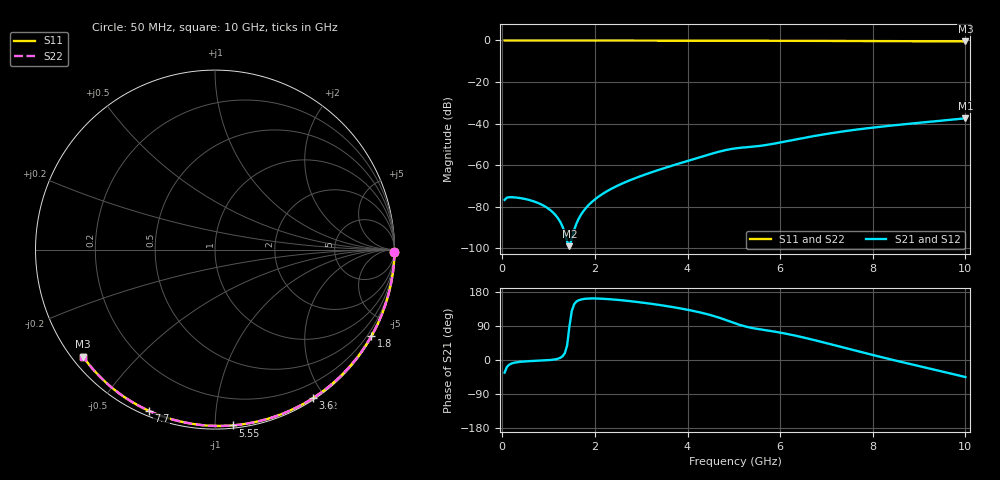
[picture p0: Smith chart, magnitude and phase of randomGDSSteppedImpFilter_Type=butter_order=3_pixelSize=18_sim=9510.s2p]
! freq	dB(S11)	phase(S11)	dB(S12)	phase(S12)
!  dB(S21)	phase(S21)	dB(S22)	phase(S22)
!S-par simulation data
#  GHz  S  DB  R 50
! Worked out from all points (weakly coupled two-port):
!   200 points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, 50 MHz to 10 GHz, reference 50 ohm
!   highest |S21| = -37.50 dB at 10 GHz (marker M1); lowest = -99.0 dB at 1.45 GHz (marker M2)
!   lowest |S11| = -0.5 dB at 10 GHz (marker M3), VSWR 36.35, Z = 1.55 - j17.7 ohm
!   |S11| at or under -10 dB: nowhere
!   |S22| runs from -0.5 to 0.0 dB; largest |S21 - S12| = 0
!   S11 on the Smith chart (normalised r, x): 50 MHz: open; 1.8 GHz: 0.03, -3.87; 3.6 GHz: 0.02, -1.86; 5.55 GHz: 0.02, -1.11; 7.7 GHz: 0.02, -0.67; 10 GHz: 0.03, -0.35
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0.05  -0.00 -0.8  -76.73 -33.3  -76.73 -33.3  -0.00 -0.8
0.1  -0.00 -1.6  -75.65 -18.2  -75.65 -18.2  -0.00 -1.6
0.3  -0.00 -4.9  -75.61 -6.2  -75.61 -6.2  -0.00 -4.9
0.65  -0.01 -10.6  -77.23 -2.7  -77.23 -2.7  -0.01 -10.6
0.95  -0.02 -15.4  -80.27 -0.9  -80.27 -0.9  -0.02 -15.4
1.45  -0.03 -23.4  -99.01 89.0  -99.01 89.0  -0.03 -23.4
1.75  -0.04 -28.2  -82.21 160.8  -82.21 160.8  -0.04 -28.2
1.8  -0.04 -29.0  -80.80 161.6  -80.80 161.6  -0.04 -29.0
1.85  -0.04 -29.8  -79.55 162.1  -79.55 162.1  -0.04 -29.8
2  -0.04 -32.1  -76.49 162.4  -76.49 162.4  -0.04 -32.1
2.15  -0.04 -34.5  -74.07 161.7  -74.07 161.7  -0.04 -34.5
2.45  -0.05 -39.1  -70.31 159.1  -70.31 159.1  -0.05 -39.1
2.85  -0.06 -45.3  -66.45 154.1  -66.45 154.1  -0.06 -45.3
3.4  -0.07 -53.6  -62.14 145.1  -62.14 145.1  -0.07 -53.6
3.6  -0.08 -56.5  -60.72 141.3  -60.72 141.3  -0.08 -56.5
4.6  -0.10 -71.1  -54.02 114.9  -54.02 114.9  -0.10 -71.1
5.05  -0.12 -77.4  -51.89 95.9  -51.89 95.9  -0.12 -77.4
5.55  -0.14 -84.3  -50.80 81.2  -50.80 81.2  -0.14 -84.3
6.7  -0.20 -99.6  -46.14 53.7  -46.14 53.7  -0.20 -99.6
7.7  -0.26 -112.4  -42.76 22.5  -42.76 22.5  -0.26 -112.4
8.35  -0.31 -120.6  -41.09 2.7  -41.09 2.7  -0.31 -120.6
10  -0.48 -141.0  -37.50 -45.1  -37.50 -45.1  -0.48 -141.0
